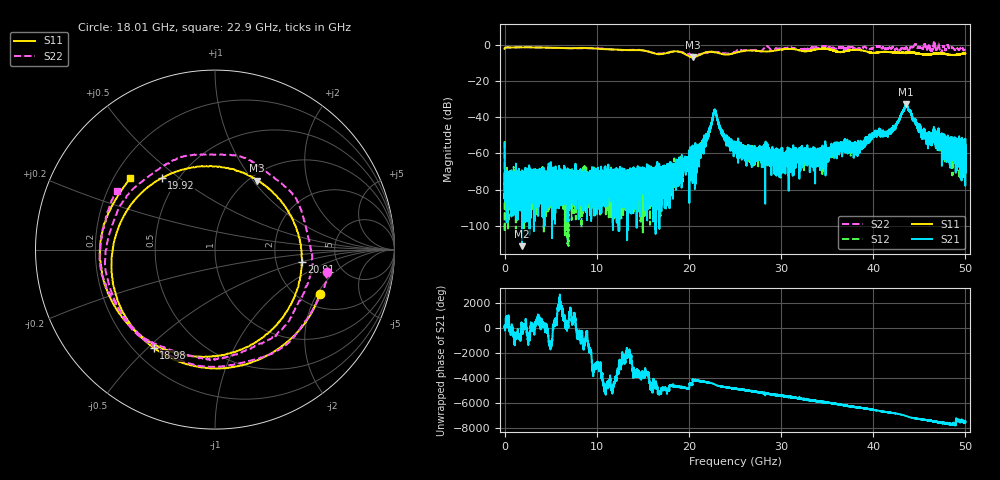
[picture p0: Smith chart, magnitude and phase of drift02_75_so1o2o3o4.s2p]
!Created with skrf (http://scikit-rf.org).
# Hz S RI R 50.0
!freq ReS11 ImS11 ReS21 ImS21 ReS12 ImS12 ReS22 ImS22
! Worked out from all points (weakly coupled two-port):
!   10001 points, 300 kHz to 50 GHz, reference 50 ohm
!   highest |S21| = -32.70 dB at 43.59 GHz (marker M1); lowest = -111.2 dB at 1.89 GHz (marker M2)
!   lowest |S11| = -6.9 dB at 20.41 GHz (marker M3), VSWR 2.64, Z = 54.2 + j52.3 ohm
!   |S11| at or under -10 dB: nowhere
!   |S22| runs from -5.7 to 2.4 dB; largest |S21 - S12| = 0.0028
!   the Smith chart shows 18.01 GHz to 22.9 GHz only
!   S11 on the Smith chart (normalised r, x): 18.01 GHz: 2.57, -2.11; 18.98 GHz: 0.28, -0.52; 19.92 GHz: 0.41, +0.43; 20.91 GHz: 2.81, -0.52; 22.9 GHz: 0.27, +0.34
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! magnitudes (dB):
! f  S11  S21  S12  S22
! 300 kHz  -2.1  -54.1  -53.3  -2.0
! 255.3 MHz  -1.4  -75.6  -68.0  -1.4
! 1.89 GHz  -1.4  -111.2  -72.1  -1.3
! 8.335 GHz  -1.7  -76.2  -82.6  -1.9
! 16.67 GHz  -5.2  -71.5  -72.3  -4.7
! 18.01 GHz  -4.0  -68.4  -72.9  -4.0
! 18.98 GHz  -3.8  -69.5  -66.2  -3.9
! 19.92 GHz  -6.1  -65.3  -64.1  -5.2
! 20.41 GHz  -6.9  -61.3  -58.0  -5.4
! 20.91 GHz  -6.2  -58.5  -62.2  -5.6
! 21.81 GHz  -4.3  -53.5  -53.1  -4.3
! 22.9 GHz  -4.2  -36.9  -36.5  -3.9
! 23.71 GHz  -5.2  -50.0  -50.0  -4.6
! 25 GHz  -4.5  -54.1  -54.9  -3.9
! 29.62 GHz  -2.9  -57.5  -72.2  -2.1
! 33.34 GHz  -3.0  -61.7  -63.3  -1.5
! 38.19 GHz  -2.7  -56.2  -58.6  -2.3
! 40.38 GHz  -4.3  -48.7  -48.7  -0.9
! 41.67 GHz  -4.0  -48.0  -48.5  -1.9
! 43.59 GHz  -4.7  -32.7  -33.7  -1.5
! 45.98 GHz  -5.4  -52.7  -52.5  -0.9
! 50 GHz  -4.7  -55.6  -56.1  -2.6
